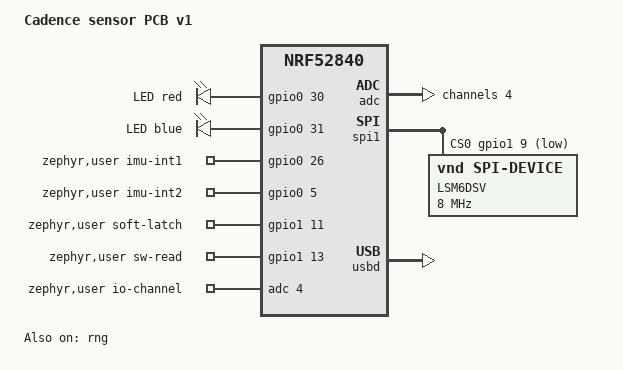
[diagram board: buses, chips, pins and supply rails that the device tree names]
// Copyright (c) 2026
// SPDX-License-Identifier: Apache-2.0
//
// Cadence sensor PCB v1 — the purpose-built board (KiCad/BikeSensor), 15 x 33
// mm, MDBT50Q-1MV2 / nRF52840 with an LSM6DSV over SPI.
//
// Differences from the cadence_rft bring-up target, all of them real:
//
//   LEDs        red P0.30 / blue P0.31, cathodes to ground so ACTIVE_HIGH.
//               There is no green: this board carries two LEDs, not an RGB.
//               (D8 is a third LED but it is the charger's status output and
//               is not reachable from the MCU.)
//   power       the 3.3 V rail is switched. See soft-latch-gpios below.
//   BAT_CHECK   P0.28, which unlike the bring-up board's P0.09 IS an analog
//               input (AIN4), so this board can finally measure its own
//               battery. Not yet read by the firmware.
//
// Everything else — SPI pins, both IMU interrupts, the crystal, USB, SWD — is
// identical to the bring-up board, which is why src/ needed no changes.
//
// See HARDWARE.md for the full pin table.

/dts-v1/;
#include <nordic/nrf52840_qiaa.dtsi>
#include <zephyr/dt-bindings/adc/adc.h>
#include <zephyr/dt-bindings/adc/nrf-saadc.h>
#include "cadence_v1-pinctrl.dtsi"

/ {
	model = "Cadence sensor PCB v1";
	compatible = "nordic,cadence-v1";

	chosen {
		zephyr,sram = &sram0;
		zephyr,flash = &flash0;
		zephyr,code-partition = &slot0_partition;
		zephyr,console = &cdc_acm_uart0;      /* diagnostics console  */
		zephyr,uart-mcumgr = &cdc_acm_uart1;  /* SMP firmware updates */
		/* nrf52840.dtsi points this at &cryptocell, which we disable
		 * below — the plain RNG peripheral is a hardware TRNG too, and
		 * the BLE stack's entropy needs are modest. */
		zephyr,entropy = &rng;
	};

	/* Two discrete LEDs, D5 (red) and D3 (blue), each with its cathode to
	 * ground through a series resistor — so ACTIVE_HIGH here, the opposite
	 * of the common-anode RGB part on the bring-up board. Getting this
	 * backwards is not merely cosmetic on a battery device: an inverted
	 * ACTIVE_LOW spec would leave both LEDs lit whenever the firmware
	 * believes them off, which on this design is milliamps against a
	 * microamp budget. */
	leds {
		compatible = "gpio-leds";
		led_r: led_red {
			gpios = <&gpio0 30 GPIO_ACTIVE_HIGH>;
			label = "LED red";
		};
		led_b: led_blue {
			gpios = <&gpio0 31 GPIO_ACTIVE_HIGH>;
			label = "LED blue";
		};
	};

	aliases {
		led-red = &led_r;
		led-blue = &led_b;
		watchdog0 = &wdt0;
	};

	zephyr,user {
		/* LSM6DSV interrupt lines, driven by our own driver (no Zephyr
		 * sensor driver — see src/lsm6dsv.c for why). INT1 carries
		 * wake-up, which is what pulls the sampler out of its idle
		 * state. */
		imu-int1-gpios = <&gpio0 26 GPIO_ACTIVE_HIGH>;
		imu-int2-gpios = <&gpio0 5 GPIO_ACTIVE_HIGH>;

		/* THE BOARD'S OWN POWER SWITCH.
		 *
		 * The 3.3 V LDO (U9, TPS7A0233) has an enable pin held up by
		 * either of two things: the momentary button SW2 through D2,
		 * or this GPIO through R12. The button alone cannot keep the
		 * board running — release it with this pin low and the supply
		 * collapses, taking the MCU with it. So asserting the latch is
		 * not a nicety, it is the difference between a board that runs
		 * and a board that only runs while a finger is on it.
		 *
		 * sw-read-gpios is the other side of the same circuit: the
		 * button voltage divided 100k/330k, high while pressed. It is
		 * what lets the firmware distinguish "a human turned this on"
		 * from "something leaked onto the enable node". */
		soft-latch-gpios = <&gpio1 11 GPIO_ACTIVE_HIGH>;
		sw-read-gpios = <&gpio1 13 GPIO_ACTIVE_HIGH>;

		/* BAT_CHECK on P0.28 = AIN4. The bring-up board wired the same
		 * signal to P0.09, which has no analog function at all, so this
		 * property is the difference between a board that can report
		 * its battery and one that cannot. src/battery.c keys off it. */
		io-channels = <&adc 4>;

		/* R10 + R11, both 1 M: the pin sees half the pack. Kept here
		 * rather than in the C so the divider and the ADC channel are
		 * described in the same place, and changing the resistors on a
		 * future board does not mean editing a driver. */
		battery-divider-num = <2>;
		battery-divider-den = <1>;
	};
};

/* SAADC for BAT_CHECK.
 *
 * Internal 0.6 V reference with 1/6 gain puts full scale at 3.6 V, and the
 * divider halves a 4.2 V pack to 2.1 V, so the whole usable range lands
 * comfortably inside it with no clipping at the top.
 *
 * 40 us acquisition is not a round number picked for luck: the source is
 * R10 || R11 = 500 kohm, and the nRF52840 SAADC's own table allows up to
 * 800 kohm at exactly this setting. Shortening it would leave the sampling
 * capacitor unable to charge and would read low.
 */
&adc {
	status = "okay";
	#address-cells = <1>;
	#size-cells = <0>;

	channel@4 {
		reg = <4>;
		zephyr,gain = "ADC_GAIN_1_6";
		zephyr,reference = "ADC_REF_INTERNAL";
		zephyr,acquisition-time = <ADC_ACQ_TIME(ADC_ACQ_TIME_MICROSECONDS, 40)>;
		zephyr,input-positive = <NRF_SAADC_AIN4>;
		zephyr,resolution = <12>;
	};
};

/* DC/DC regulator: this runs off a battery on a crank arm and advertises
 * whenever the bike is moving, so the ~40% saving on radio TX current is the
 * single biggest battery win available. */
&reg1 {
	regulator-initial-mode = <NRF5X_REG_MODE_DCDC>;
};

&gpiote {
	status = "okay";
};

&rng {
	status = "okay";
};

&gpio0 {
	status = "okay";
};

&gpio1 {
	status = "okay";
};

/* SPIM1 — LSM6DSV 6-axis IMU. CS is P1.09 on this PCB.
 *
 * SPIM1 and not SPIM3, which is what this used to be. nRF52840 anomaly 195 has
 * SPIM3 go on drawing several hundred microamps after use, and the workaround
 * in nrfx (a write to 0x4002F004) lives inside nrfx_spim_uninit() — a function
 * Zephyr only reaches when the device is suspended, which needs system power
 * management this application does not run. So the fix shipped in the SDK
 * never executed, and a parked sensor measured 554 uA instead of the ~10 uA it
 * was designed for. That one peripheral was most of a week's battery.
 *
 * Nothing is lost by moving. SPIM3's advantage is 32 MHz; this bus runs at 8,
 * which SPIM0/1/2 reach, and it uses none of SPIM3's extended features. i2c1
 * shares the instance and is disabled below, so instance 1 is free.
 */
&spi1 {
	compatible = "nordic,nrf-spim";
	status = "okay";
	max-frequency = <DT_FREQ_M(8)>;
	pinctrl-0 = <&spi1_default>;
	pinctrl-1 = <&spi1_sleep>;
	pinctrl-names = "default", "sleep";
	cs-gpios = <&gpio1 9 GPIO_ACTIVE_LOW>;

	lsm6dsv: lsm6dsv@0 {
		compatible = "vnd,spi-device";
		reg = <0>;
		spi-max-frequency = <DT_FREQ_M(8)>;
		label = "LSM6DSV";
	};
};

/* Two USB CDC-ACM endpoints, deliberately split:
 *   uart0 = the human console (status, live cadence, raw accel)
 *   uart1 = mcumgr SMP, i.e. how new firmware gets in over the USB cable
 * Keeping them apart means a firmware upload never has to fight the console
 * for the same byte stream, and a chatty console can never corrupt an upload.
 */
zephyr_udc0: &usbd {
	compatible = "nordic,nrf-usbd";
	status = "okay";
	cdc_acm_uart0: cdc_acm_uart0 {
		compatible = "zephyr,cdc-acm-uart";
	};
	cdc_acm_uart1: cdc_acm_uart1 {
		compatible = "zephyr,cdc-acm-uart";
	};
};

/* Not populated / not used by the cadence sensor. */
&qspi {
	status = "disabled";
};

&i2c1 {
	status = "disabled";
};

&cryptocell {
	status = "disabled";
};

&nfct {
	status = "disabled";
};

/* Internal flash layout — MCUboot + two image slots + NVS.
 * Kept identical to the bring-up board so an image built for one can be
 * flashed to the other without moving the NVS contents.
 * pm_static.yml pins the same numbers for the Partition Manager. */
&flash0 {
	partitions {
		compatible = "fixed-partitions";
		#address-cells = <1>;
		#size-cells = <1>;

		boot_partition: partition@0 {
			label = "mcuboot";
			reg = <0x0 0x20000>; /* 128 KB */
		};
		slot0_partition: partition@20000 {
			label = "image-0";
			reg = <0x20000 0x68000>; /* 416 KB */
		};
		slot1_partition: partition@88000 {
			label = "image-1";
			reg = <0x88000 0x68000>; /* 416 KB */
		};
		storage_partition: partition@f0000 {
			label = "storage";
			reg = <0xf0000 0x10000>; /* 64 KB NVS */
		};
	};
};
